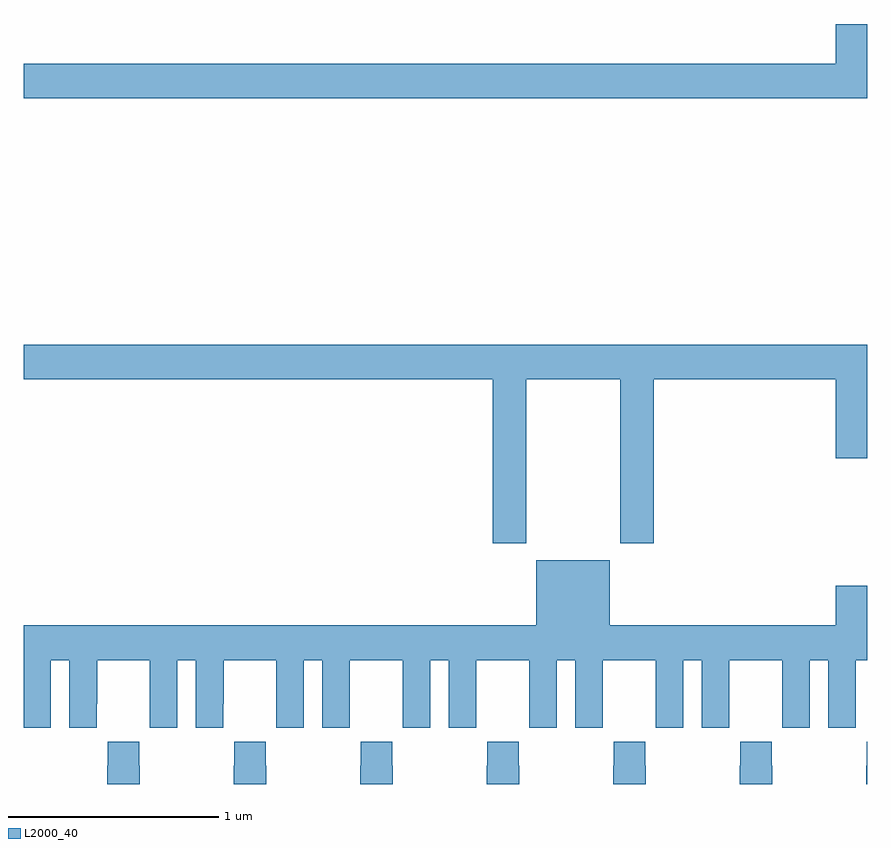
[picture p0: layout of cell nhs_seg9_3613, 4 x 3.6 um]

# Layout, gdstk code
import gdstk
lib = gdstk.Library(unit=1e-6, precision=1e-09)
def P(c, l, *ps):  # polygons
    for p in ps: c.add(gdstk.Polygon(p, *l))
L2000_40 = (2000, 40)

nhs_seg9_3613 = lib.new_cell('nhs_seg9_3613')
P(nhs_seg9_3613, L2000_40, [(321,1198.105),(320.852,1198.105),(320.852,1197.916),(317,1197.916),(317,1197.752),(321,1197.752)],
  [(319.383,1196.42),(319.828,1196.42),(319.828,1195.641),(319.988,1195.641),(319.988,1196.42),(320.852,1196.42),(320.852,1196.046),(321,1196.046),(321,1196.584),(317,1196.584),(317,1196.42),(319.223,1196.42),(319.223,1195.641),(319.383,1195.641)],
  [(317.128,1195.088),(317.216,1195.088),(317.216,1194.768),(317.346,1194.768),(317.346,1194.88),(317.347,1194.88),(317.347,1195.088),(317.597,1195.088),(317.597,1194.88),(317.598,1194.88),(317.598,1194.768),(317.728,1194.768),(317.728,1195.088),(317.816,1195.088),(317.816,1194.768),(317.946,1194.768),(317.946,1194.88),(317.947,1194.88),(317.947,1195.088),(318.197,1195.088),(318.197,1194.88),(318.198,1194.88),(318.198,1194.768),(318.328,1194.768),(318.328,1195.088),(318.416,1195.088),(318.416,1194.768),(318.546,1194.768),(318.546,1194.88),(318.547,1194.88),(318.547,1195.088),(318.797,1195.088),(318.797,1194.88),(318.798,1194.88),(318.798,1194.768),(318.928,1194.768),(318.928,1195.088),(319.016,1195.088),(319.016,1194.768),(319.146,1194.768),(319.146,1194.88),(319.147,1194.88),(319.147,1195.088),(319.397,1195.088),(319.397,1194.88),(319.398,1194.88),(319.398,1194.768),(319.528,1194.768),(319.528,1195.088),(319.616,1195.088),(319.616,1194.768),(319.746,1194.768),(319.746,1194.88),(319.747,1194.88),(319.747,1195.088),(319.997,1195.088),(319.997,1194.88),(319.998,1194.88),(319.998,1194.768),(320.128,1194.768),(320.128,1195.088),(320.216,1195.088),(320.216,1194.768),(320.346,1194.768),(320.346,1194.88),(320.347,1194.88),(320.347,1195.088),(320.597,1195.088),(320.597,1194.88),(320.598,1194.88),(320.598,1194.768),(320.728,1194.768),(320.728,1195.088),(320.816,1195.088),(320.816,1194.768),(320.946,1194.768),(320.946,1194.88),(320.947,1194.88),(320.947,1195.088),(321,1195.088),(321,1195.441),(320.852,1195.441),(320.852,1195.252),(319.78,1195.252),(319.78,1195.561),(319.43,1195.561),(319.43,1195.252),(317,1195.252),(317,1194.768),(317.128,1194.768)],
  [(318.15,1194.587),(318.147,1194.587),(318.147,1194.7),(317.997,1194.7),(317.997,1194.587),(317.995,1194.587),(317.995,1194.5),(318.15,1194.5)],
  [(317.55,1194.587),(317.547,1194.587),(317.547,1194.7),(317.397,1194.7),(317.397,1194.587),(317.395,1194.587),(317.395,1194.5),(317.55,1194.5)],
  [(318.75,1194.587),(318.747,1194.587),(318.747,1194.7),(318.597,1194.7),(318.597,1194.587),(318.595,1194.587),(318.595,1194.5),(318.75,1194.5)],
  [(319.35,1194.587),(319.347,1194.587),(319.347,1194.7),(319.197,1194.7),(319.197,1194.587),(319.195,1194.587),(319.195,1194.5),(319.35,1194.5)],
  [(319.95,1194.587),(319.947,1194.587),(319.947,1194.7),(319.797,1194.7),(319.797,1194.587),(319.795,1194.587),(319.795,1194.5),(319.95,1194.5)],
  [(320.55,1194.587),(320.547,1194.587),(320.547,1194.7),(320.397,1194.7),(320.397,1194.587),(320.395,1194.587),(320.395,1194.5),(320.55,1194.5)],
  [(321,1194.7),(320.997,1194.7),(320.997,1194.587),(320.995,1194.587),(320.995,1194.5),(321,1194.5)])

lib.write_gds('nhs_seg9_3613.gds')
